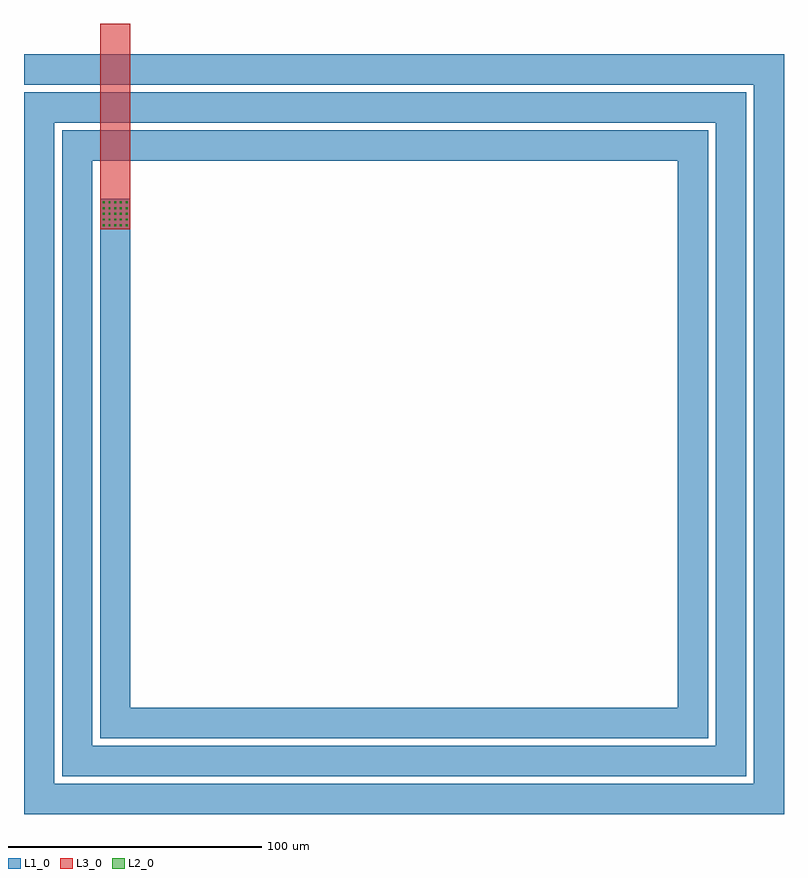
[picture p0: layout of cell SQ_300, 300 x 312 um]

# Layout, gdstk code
import gdstk
lib = gdstk.Library(unit=1e-6, precision=1e-09)
def R(c, l, rs):  # rectangles x0, y0, x1, y1
    for r in rs: c.add(gdstk.rectangle(r[:2], r[2:], *l))
def A(c, l, x, y, w, h, nx, ny, dx, dy):  # array of equal rectangles
    R(c, l, [(x+i*dx, y+j*dy, x+i*dx+w, y+j*dy+h) for i in range(nx) for j in range(ny)])
def P(c, l, *ps):  # polygons
    for p in ps: c.add(gdstk.Polygon(p, *l))
L1_0 = (1, 0)
L2_0 = (2, 0)
L3_0 = (3, 0)

sq_300 = lib.new_cell('SQ_300')
R(sq_300, L1_0, [(80,281,92,293)])
P(sq_300, L1_0, [(50,338),(50,350),(350,350),(338,338)],
  [(350,50),(338,62),(338,338),(350,350)],
  [(50,50),(62,62),(338,62),(350,50)],
  [(50,50),(50,335),(62,323),(62,62)],
  [(62,323),(50,335),(335,335),(323,323)],
  [(335,65),(323,77),(323,323),(335,335)],
  [(65,65),(77,77),(323,77),(335,65)],
  [(65,65),(65,320),(77,308),(77,77)],
  [(77,308),(65,320),(320,320),(308,308)],
  [(320,80),(308,92),(308,308),(320,320)],
  [(80,80),(92,92),(308,92),(320,80)],
  [(80,80),(80,293),(92,293),(92,92)])
A(sq_300, L2_0, 81.12, 282.12, 0.75, 0.75, 5, 5, 2.25, 2.25)
R(sq_300, L3_0, [(80,281,92,362), (80,281,92,293)])

lib.write_gds('SQ_300.gds')
